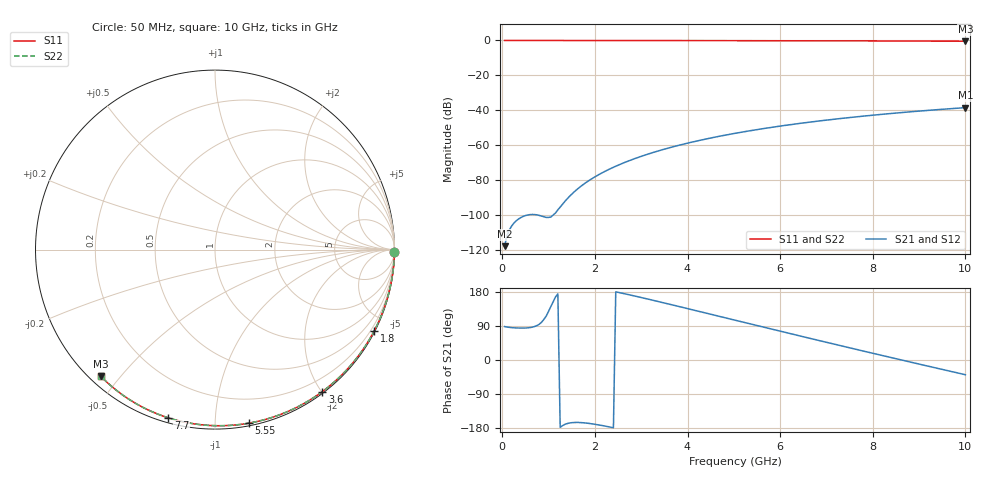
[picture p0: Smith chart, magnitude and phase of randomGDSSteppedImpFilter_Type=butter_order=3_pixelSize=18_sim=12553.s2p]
! freq	dB(S11)	phase(S11)	dB(S12)	phase(S12)
!  dB(S21)	phase(S21)	dB(S22)	phase(S22)
!S-par simulation data
#  GHz  S  DB  R 50
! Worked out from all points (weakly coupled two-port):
!   200 points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, 50 MHz to 10 GHz, reference 50 ohm
!   highest |S21| = -38.42 dB at 10 GHz (marker M1); lowest = -117.6 dB at 50 MHz (marker M2)
!   lowest |S11| = -0.4 dB at 10 GHz (marker M3), VSWR 39.04, Z = 1.53 - j22.2 ohm
!   |S11| at or under -10 dB: nowhere
!   |S22| runs from -0.4 to 0.0 dB; largest |S21 - S12| = 0
!   S11 on the Smith chart (normalised r, x): 50 MHz: open; 1.8 GHz: 0.04, -4.15; 3.6 GHz: 0.02, -2.01; 5.55 GHz: 0.02, -1.21; 7.7 GHz: 0.02, -0.76; 10 GHz: 0.03, -0.44
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0.05  -0.00 -0.8  -117.65 88.2  -117.65 88.2  -0.00 -0.8
0.9  -0.02 -13.7  -100.89 107.5  -100.89 107.5  -0.02 -13.7
1.75  -0.03 -26.3  -82.34 -165.7  -82.34 -165.7  -0.03 -26.3
1.8  -0.03 -27.1  -81.39 -166.3  -81.39 -166.3  -0.03 -27.1
1.85  -0.04 -27.8  -80.49 -167.0  -80.49 -167.0  -0.04 -27.8
1.9  -0.04 -28.5  -79.63 -167.8  -79.63 -167.8  -0.04 -28.5
2.05  -0.04 -30.7  -77.23 -170.6  -77.23 -170.6  -0.04 -30.7
2.25  -0.04 -33.7  -74.41 -175.1  -74.41 -175.1  -0.04 -33.7
2.45  -0.05 -36.6  -71.92 179.9  -71.92 179.9  -0.05 -36.6
2.65  -0.05 -39.5  -69.69 174.6  -69.69 174.6  -0.05 -39.5
3  -0.06 -44.5  -66.27 164.9  -66.27 164.9  -0.06 -44.5
3.4  -0.07 -50.1  -62.92 153.4  -62.92 153.4  -0.07 -50.1
3.6  -0.07 -52.9  -61.43 147.5  -61.43 147.5  -0.07 -52.9
4.3  -0.09 -62.5  -56.92 126.8  -56.92 126.8  -0.09 -62.6
5.05  -0.11 -72.5  -53.00 104.4  -53.00 104.4  -0.11 -72.6
5.55  -0.13 -79.0  -50.77 89.5  -50.77 89.5  -0.13 -79.1
6.1  -0.15 -86.0  -48.60 73.1  -48.60 73.1  -0.15 -86.1
6.7  -0.18 -93.5  -46.50 55.5  -46.50 55.5  -0.18 -93.5
7.7  -0.24 -105.6  -43.53 26.4  -43.53 26.4  -0.24 -105.6
8.35  -0.29 -113.2  -41.87 7.7  -41.87 7.7  -0.29 -113.2
9.15  -0.36 -122.4  -40.08 -15.0  -40.08 -15.0  -0.36 -122.5
10  -0.45 -132.1  -38.42 -38.9  -38.42 -38.9  -0.45 -132.1
